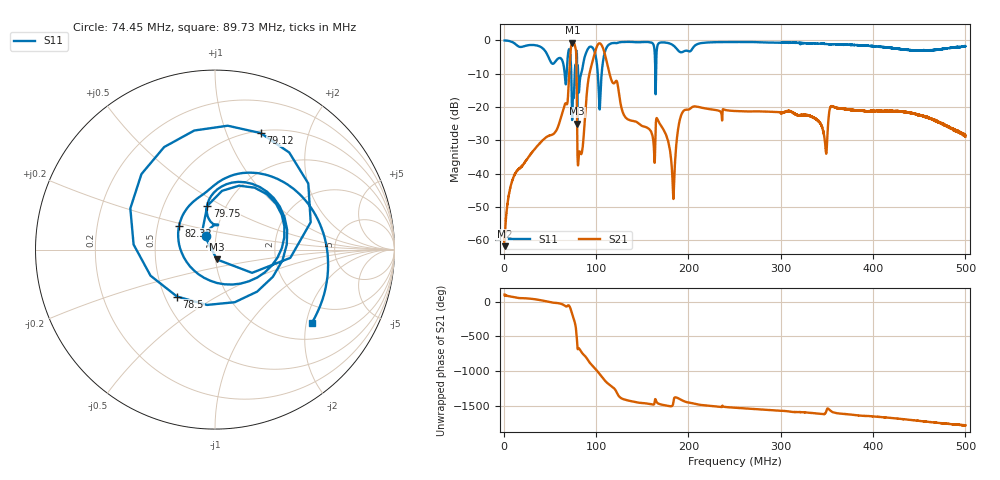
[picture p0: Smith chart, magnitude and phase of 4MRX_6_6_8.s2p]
! NanoVNA-App
! Date: 2026-08-19 18:02:25
! Start: 1MHz Stop: 500MHz Points: 6401
! S-Parameter data: F S11 S21 S12 S22
# Hz S RI R 50
!  Frequency  S11_Real  S11_Imag  S21_Real  S21_Imag  S12_Real  S12_Imag  S22_Real  S22_Imag
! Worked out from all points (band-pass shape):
!   6401 points, 1 MHz to 500 MHz, reference 50 ohm
!   highest |S21| = -0.69 dB at 74.45 MHz (marker M1); lowest = -61.8 dB at 1 MHz (marker M2)
!   |S21| within 3 dB of the highest: 72.37 MHz to 78.45 MHz (6.084 MHz wide, 8.07 % of centre); 98.75 MHz to 109.2 MHz (10.41 MHz wide, 10 % of centre)
!   lowest |S11| = -25.1 dB at 79.59 MHz (marker M3), VSWR 1.12, Z = 50.7 - j5.59 ohm
!   |S11| at or under -10 dB: 73.16 MHz to 76.94 MHz (3.773 MHz wide, 5.03 % of centre); 80.65 MHz to 84.02 MHz (3.371 MHz wide, 4.09 % of centre); 101.9 MHz to 106.1 MHz (4.209 MHz wide, 4.05 % of centre)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
!   S12 and S22 are empty: the file has one direction only
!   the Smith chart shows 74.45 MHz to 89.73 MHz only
!   S11 on the Smith chart (normalised r, x): 74.45 MHz: 0.89, +0.14; 78.5 MHz: 0.58, -0.34; 79.12 MHz: 0.53, +1.33; 79.75 MHz: 0.82, +0.42; 82.32 MHz: 0.65, +0.18; 89.73 MHz: 1.44, -2.16
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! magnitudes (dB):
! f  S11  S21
! 1 MHz  0.0  -61.8
! 11.92 MHz  -0.9  -40.3
! 59.55 MHz  -5.3  -25.4
! 74.45 MHz  -20.7  -0.7
! 78.5 MHz  -9.5  -4.0
! 79.12 MHz  -3.1  -14.4
! 79.59 MHz  -25.1  -26.6
! 79.75 MHz  -12.1  -31.5
! 82.32 MHz  -12.4  -33.4
! 84.19 MHz  -9.8  -34.1
! 89.73 MHz  -3.4  -16.8
! 104.2 MHz  -19.8  -0.9
! 111.9 MHz  -1.9  -6.9
! 131.8 MHz  -0.4  -23.1
! 167.4 MHz  -1.0  -24.2
! 183.4 MHz  -1.4  -46.3
! 195 MHz  -3.3  -21.1
! 250.5 MHz  -0.5  -21.2
! 333.7 MHz  -0.9  -22.9
! 348.4 MHz  -1.0  -31.8
! 416.9 MHz  -2.1  -21.2
! 500 MHz  -1.8  -28.9
